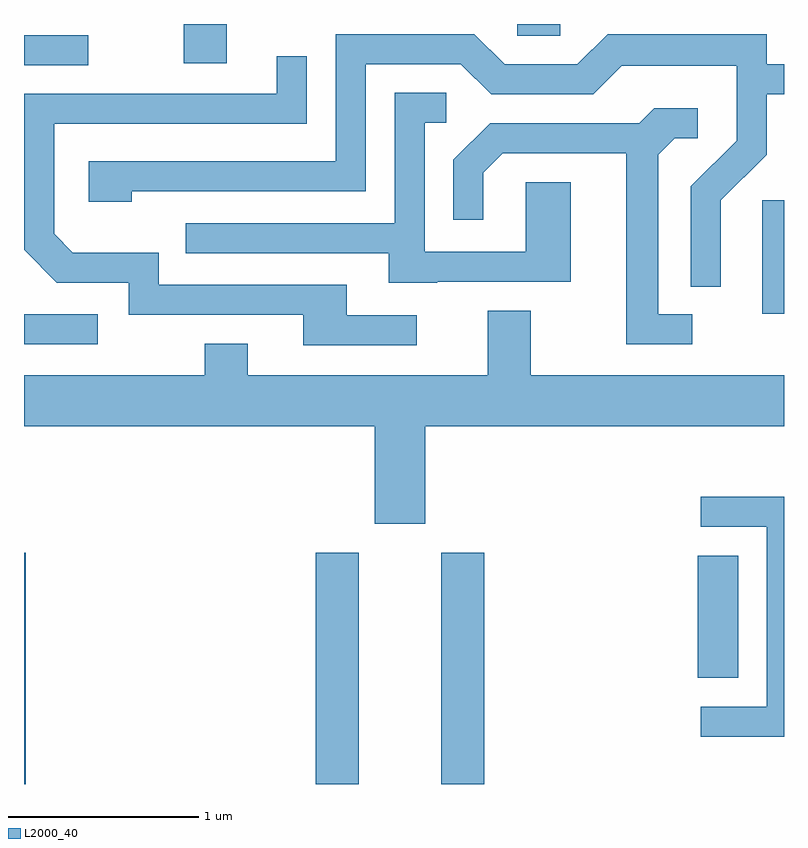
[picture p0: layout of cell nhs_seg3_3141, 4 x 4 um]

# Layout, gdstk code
import gdstk
lib = gdstk.Library(unit=1e-6, precision=1e-09)
def R(c, l, rs):  # rectangles x0, y0, x1, y1
    for r in rs: c.add(gdstk.rectangle(r[:2], r[2:], *l))
def P(c, l, *ps):  # polygons
    for p in ps: c.add(gdstk.Polygon(p, *l))
L2000_40 = (2000, 40)

nhs_seg3_3141 = lib.new_cell('nhs_seg3_3141')
R(nhs_seg3_3141, L2000_40, [(277.611,1141.892,277.619,1143.109), (279.146,1141.892,279.374,1143.109), (279.806,1141.892,280.034,1143.109), (281.156,1142.451,281.369,1143.094), (277.611,1144.206,277.998,1144.364), (281.496,1144.366,281.611,1144.964), (277.611,1145.676,277.948,1145.834), (278.451,1145.686,278.679,1145.892), (280.206,1145.831,280.434,1145.892)])
P(nhs_seg3_3141, L2000_40, [(281.279,1144.964),(281.519,1145.204),(281.519,1145.521),(281.611,1145.521),(281.611,1145.679),(281.519,1145.679),(281.519,1145.839),(280.684,1145.839),(280.524,1145.679),(280.142,1145.679),(279.982,1145.839),(279.251,1145.839),(279.251,1145.169),(277.951,1145.169),(277.951,1144.956),(278.179,1144.956),(278.179,1145.011),(279.409,1145.011),(279.409,1145.681),(279.909,1145.681),(280.069,1145.521),(280.607,1145.521),(280.757,1145.671),(281.361,1145.671),(281.361,1145.277),(281.121,1145.037),(281.121,1144.508),(281.279,1144.508)],
  [(279.678,1144.359),(279.309,1144.359),(279.309,1144.519),(278.319,1144.519),(278.319,1144.689),(277.867,1144.689),(277.769,1144.787),(277.769,1145.366),(279.099,1145.366),(279.099,1145.723),(278.941,1145.723),(278.941,1145.524),(277.611,1145.524),(277.611,1144.704),(277.784,1144.531),(278.161,1144.531),(278.161,1144.361),(279.081,1144.361),(279.081,1144.201),(279.678,1144.201)],
  [(279.785,1144.536),(280.489,1144.536),(280.489,1145.059),(280.251,1145.059),(280.251,1144.694),(279.719,1144.694),(279.719,1145.371),(279.833,1145.371),(279.833,1145.529),(279.561,1145.529),(279.561,1144.844),(278.463,1144.844),(278.463,1144.686),(279.531,1144.686),(279.531,1144.531),(279.785,1144.531)],
  [(281.128,1144.364),(280.949,1144.364),(280.949,1145.204),(281.037,1145.291),(281.158,1145.291),(281.158,1145.449),(280.929,1145.449),(280.849,1145.369),(280.064,1145.369),(279.871,1145.177),(279.871,1144.863),(280.029,1144.863),(280.029,1145.109),(280.132,1145.211),(280.781,1145.211),(280.781,1144.206),(281.128,1144.206)],
  [(278.561,1144.209),(278.561,1144.044),(277.611,1144.044),(277.611,1143.776),(279.456,1143.776),(279.456,1143.261),(279.724,1143.261),(279.724,1143.776),(281.611,1143.776),(281.611,1144.044),(280.279,1144.044),(280.279,1144.384),(280.051,1144.384),(280.051,1144.044),(278.789,1144.044),(278.789,1144.209)],
  [(281.611,1143.404),(281.173,1143.404),(281.173,1143.246),(281.521,1143.246),(281.521,1142.299),(281.173,1142.299),(281.173,1142.141),(281.611,1142.141)])

lib.write_gds('nhs_seg3_3141.gds')
